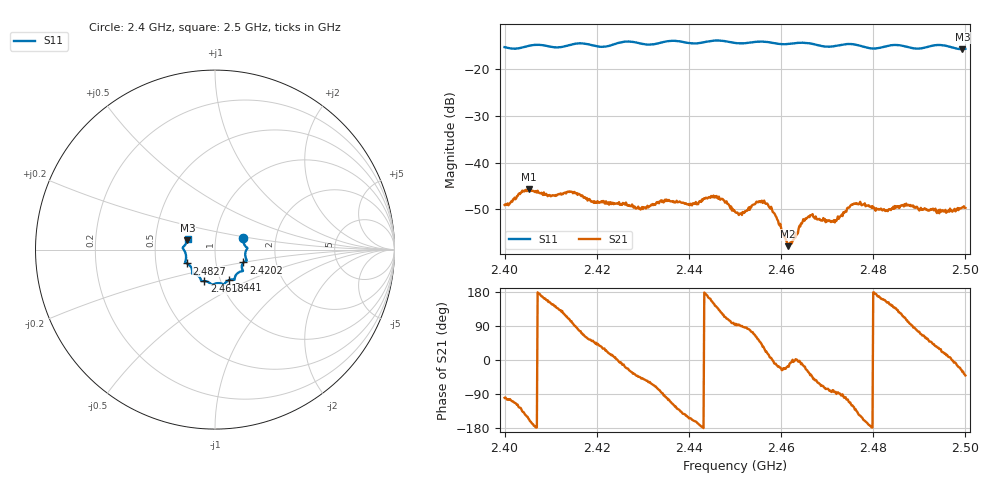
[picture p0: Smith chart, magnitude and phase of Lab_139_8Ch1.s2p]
# Hz S RI R 50
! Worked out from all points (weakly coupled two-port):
!   601 points, 2.4 GHz to 2.5 GHz, reference 50 ohm
!   highest |S21| = -45.64 dB at 2.4053 GHz (marker M1); lowest = -57.9 dB at 2.4615 GHz (marker M2)
!   lowest |S11| = -15.8 dB at 2.4993 GHz (marker M3), VSWR 1.39, Z = 36.5 + j3.85 ohm
!   |S11| at or under -10 dB: start of sweep to end of sweep
!   S12 and S22 are empty: the file has one direction only
!   S11 on the Smith chart (normalised r, x): 2.4 GHz: 1.36, +0.18; 2.4202 GHz: 1.36, -0.20; 2.441 GHz: 1.10, -0.39; 2.4618 GHz: 0.84, -0.30; 2.4827 GHz: 0.72, -0.11; 2.5 GHz: 0.73, +0.09
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2.4e9  0.1588 0.0629  -0.000605 -0.00347  0 0  0 0
2.405333e9  0.1764 0.0124  -0.00481 -0.00203  0 0  0 0
2.416667e9  0.1772 -0.0612  0.00144 0.00412  0 0  0 0
2.420167e9  0.1585 -0.0715  0.00283 0.00264  0 0  0 0
2.429667e9  0.1397 -0.123  0.00213 -0.00246  0 0  0 0
2.433333e9  0.1115 -0.1508  0.000861 -0.00369  0 0  0 0
2.441e9  0.0785 -0.1699  -0.00344 -0.00124  0 0  0 0
2.445667e9  0.0506 -0.1946  -0.00347 0.00262  0 0  0 0
2.45e9  0.0285 -0.1874  -0.00014 0.00297  0 0  0 0
2.456667e9  -0.0186 -0.1938  0.00336 0.00135  0 0  0 0
2.458333e9  -0.0274 -0.1873  0.00291 -0.000161  0 0  0 0
2.4615e9  -0.0561 -0.1756  0.00123 -0.000348  0 0  0 0
2.461833e9  -0.0592 -0.1755  0.00133 -0.000237  0 0  0 0
2.464833e9  -0.076 -0.1743  0.0024 -0.000629  0 0  0 0
2.466667e9  -0.0789 -0.1683  0.00203 -0.00185  0 0  0 0
2.4715e9  -0.109 -0.1367  0.000237 -0.00241  0 0  0 0
2.476667e9  -0.127 -0.1267  -0.00278 -0.00232  0 0  0 0
2.482667e9  -0.1562 -0.077  -0.00277 0.00123  0 0  0 0
2.483333e9  -0.1606 -0.075  -0.00279 0.00147  0 0  0 0
2.486667e9  -0.164 -0.0623  -0.0013 0.00313  0 0  0 0
2.499333e9  -0.1541 0.0513  0.00282 -0.00172  0 0  0 0
2.5e9  -0.1523 0.0608  0.00247 -0.00214  0 0  0 0
